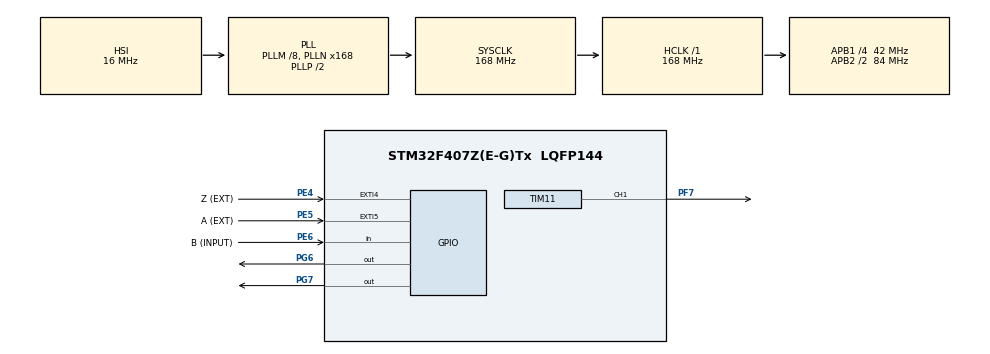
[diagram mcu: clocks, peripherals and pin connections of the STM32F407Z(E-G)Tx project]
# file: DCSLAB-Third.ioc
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Mcu.Family=STM32F4
Mcu.Name=STM32F407Z(E-G)Tx
Mcu.Package=LQFP144
NVIC.EXTI4_IRQn=true\:0\:0\:false\:false\:true\:true\:true\:true
NVIC.EXTI9_5_IRQn=true\:0\:0\:false\:false\:true\:true\:true\:true
NVIC.PriorityGroup=NVIC_PRIORITYGROUP_4
NVIC.TIM6_DAC_IRQn=true\:0\:0\:false\:false\:true\:true\:true\:true
NVIC.TIM7_IRQn=true\:0\:0\:false\:false\:true\:true\:true\:true
PE4.GPIO_Label=Z (EXT)
PE4.Signal=GPXTI4
PE5.GPIO_Label=A (EXT)
PE5.Signal=GPXTI5
PE6.GPIO_Label=B (INPUT)
PE6.Signal=GPIO_Input
PF7.Signal=S_TIM11_CH1
PG6.Signal=GPIO_Output
PG7.Signal=GPIO_Output
ProjectManager.HeapSize=0x200
ProjectManager.StackSize=0x400
ProjectManager.TargetToolchain=STM32CubeIDE
RCC.48MHZClocksFreq_Value=84000000
RCC.AHBFreq_Value=168000000
RCC.APB1CLKDivider=RCC_HCLK_DIV4
RCC.APB1Freq_Value=42000000
RCC.APB1TimFreq_Value=84000000
RCC.APB2CLKDivider=RCC_HCLK_DIV2
RCC.APB2Freq_Value=84000000
RCC.APB2TimFreq_Value=168000000
RCC.CortexFreq_Value=168000000
RCC.HCLKFreq_Value=168000000
RCC.HSE_VALUE=25000000
RCC.HSI_VALUE=16000000
RCC.LSE_VALUE=32768
RCC.PLLM=8
RCC.PLLN=168
RCC.SYSCLKFreq_VALUE=168000000
RCC.SYSCLKSource=RCC_SYSCLKSOURCE_PLLCLK
RCC.VCOOutputFreq_Value=336000000
SH.S_TIM11_CH1.0=TIM11_CH1,PWM Generation1 CH1
TIM11.Channel=TIM_CHANNEL_1
TIM11.Period=1119
TIM11.Prescaler=9
TIM6.Period=9999
TIM6.Prescaler=15
TIM7.Period=9999
TIM7.Prescaler=159
VP_TIM11_VS_ClockSourceINT.Mode=Enable_Timer
VP_TIM6_VS_ClockSourceINT.Mode=Enable_Timer
VP_TIM7_VS_ClockSourceINT.Mode=Enable_Timer
board=custom

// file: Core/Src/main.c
/* USER CODE BEGIN Header */
/**
  ******************************************************************************
  * @file           : main.c
  * @brief          : Main program body
  ******************************************************************************
  * @attention
  *
  * Copyright (c) 2024 STMicroelectronics.
  * All rights reserved.
  *
  * This software is licensed under terms that can be found in the LICENSE file
  * in the root directory of this software component.
  * If no LICENSE file comes with this software, it is provided AS-IS.
  *
  ******************************************************************************
  */
/* USER CODE END Header */
#include "main.h"

TIM_HandleTypeDef htim6;
TIM_HandleTypeDef htim7;
TIM_HandleTypeDef htim11;

/* USER CODE BEGIN PV */
uint16_t counter;
int pos_counter;
float pos;
uint16_t speed;
uint16_t speed_previous;
int dir;
uint16_t CCR_DB;
uint16_t CCR_K1;
uint16_t Speed_K1;
uint16_t CCR_K2;
uint16_t Speed_K2;
uint16_t k_value;
uint16_t Tau_value;

typedef enum{
	INIT = 0, IDLE, DB, K1, K2, Tau0, Tau
} Engine_State_t;

Engine_State_t state = INIT;

typedef enum{
	OK = 0, ERR
} result_t;

result_t init(void);
result_t idle(void);
result_t db(void);
result_t k1(void);
result_t k2(void);
result_t tau(void);

/* USER CODE END PV */

void SystemClock_Config(void);
static void MX_GPIO_Init(void);
static void MX_TIM6_Init(void);
static void MX_TIM11_Init(void);
static void MX_TIM7_Init(void);

int main(void)
{

  /* MCU Configuration--------------------------------------------------------*/

  /* Reset of all peripherals, Initializes the Flash interface and the Systick. */
  HAL_Init();

  /* Configure the system clock */
  SystemClock_Config();

  /* Initialize all configured peripherals */
  MX_GPIO_Init();
  MX_TIM6_Init();
  MX_TIM11_Init();
  MX_TIM7_Init();
  /* USER CODE BEGIN 2 */
  HAL_TIM_Base_Start_IT(&htim6);
  HAL_TIM_Base_Start_IT(&htim7);
  HAL_TIM_PWM_Start(&htim11, TIM_CHANNEL_1);

  TIM11->CCR1 = 0;
  pos = 0;
  /* USER CODE END 2 */

  /* Infinite loop */
  /* USER CODE BEGIN WHILE */
  while (1)
  {

	  switch(state){

	  	  case INIT:
	  		  state = IDLE;
	  		  break;
	  	  case IDLE:
	  		  state = DB;
	  		  break;
	  	  case DB:
	  		  if(db() == OK){
	  			  state = K1;
	  		  }
	  		  break;
	  	  case K1:
	  		  TIM11->CCR1 = CCR_DB + 100;
	  		  HAL_Delay(6000);
	  		  CCR_K1 = TIM11->CCR1;
	  		  Speed_K1 = speed;

	  		  TIM11->CCR1 = TIM11->CCR1 * 2;
	  		  state = K2;
	  		  break;

	  	  case K2:
	  		  break;
	  	  case Tau0:
	  		  TIM11->CCR1 = CCR_K1;
	  		  HAL_Delay(5000);
	  		  TIM11->CCR1 = CCR_K2;
	  		  state = Tau;
	  		  break;
	  	  case Tau:
	  		  break;
	  	  default:
	  		  state = IDLE;
	  		  break;

	  }

    /* USER CODE END WHILE */

  }
}

void SystemClock_Config(void)
{
  RCC_OscInitTypeDef RCC_OscInitStruct = {0};
  RCC_ClkInitTypeDef RCC_ClkInitStruct = {0};

  /** Configure the main internal regulator output voltage
  */
  __HAL_RCC_PWR_CLK_ENABLE();
  __HAL_PWR_VOLTAGESCALING_CONFIG(PWR_REGULATOR_VOLTAGE_SCALE1);

  /** Initializes the RCC Oscillators according to the specified parameters
  * in the RCC_OscInitTypeDef structure.
  */
  RCC_OscInitStruct.OscillatorType = RCC_OSCILLATORTYPE_HSI;
  RCC_OscInitStruct.HSIState = RCC_HSI_ON;
  RCC_OscInitStruct.HSICalibrationValue = RCC_HSICALIBRATION_DEFAULT;
  RCC_OscInitStruct.PLL.PLLState = RCC_PLL_ON;
  RCC_OscInitStruct.PLL.PLLSource = RCC_PLLSOURCE_HSI;
  RCC_OscInitStruct.PLL.PLLM = 8;
  RCC_OscInitStruct.PLL.PLLN = 168;
  RCC_OscInitStruct.PLL.PLLP = RCC_PLLP_DIV2;
  RCC_OscInitStruct.PLL.PLLQ = 4;
  if (HAL_RCC_OscConfig(&RCC_OscInitStruct) != HAL_OK)
  {
    Error_Handler();
  }

  /** Initializes the CPU, AHB and APB buses clocks
  */
  RCC_ClkInitStruct.ClockType = RCC_CLOCKTYPE_HCLK|RCC_CLOCKTYPE_SYSCLK
                              |RCC_CLOCKTYPE_PCLK1|RCC_CLOCKTYPE_PCLK2;
  RCC_ClkInitStruct.SYSCLKSource = RCC_SYSCLKSOURCE_PLLCLK;
  RCC_ClkInitStruct.AHBCLKDivider = RCC_SYSCLK_DIV1;
  RCC_ClkInitStruct.APB1CLKDivider = RCC_HCLK_DIV4;
  RCC_ClkInitStruct.APB2CLKDivider = RCC_HCLK_DIV2;

  if (HAL_RCC_ClockConfig(&RCC_ClkInitStruct, FLASH_LATENCY_5) != HAL_OK)
  {
    Error_Handler();
  }
}

static void MX_TIM6_Init(void)
{

  TIM_MasterConfigTypeDef sMasterConfig = {0};

  htim6.Instance = TIM6;
  htim6.Init.Prescaler = 41;
  htim6.Init.CounterMode = TIM_COUNTERMODE_UP;
  htim6.Init.Period = 9999;
  htim6.Init.AutoReloadPreload = TIM_AUTORELOAD_PRELOAD_DISABLE;
  if (HAL_TIM_Base_Init(&htim6) != HAL_OK)
  {
    Error_Handler();
  }
  sMasterConfig.MasterOutputTrigger = TIM_TRGO_RESET;
  sMasterConfig.MasterSlaveMode = TIM_MASTERSLAVEMODE_DISABLE;
  if (HAL_TIMEx_MasterConfigSynchronization(&htim6, &sMasterConfig) != HAL_OK)
  {
    Error_Handler();
  }

}

static void MX_TIM7_Init(void)
{

  TIM_MasterConfigTypeDef sMasterConfig = {0};

  htim7.Instance = TIM7;
  htim7.Init.Prescaler = 83;
  htim7.Init.CounterMode = TIM_COUNTERMODE_UP;
  htim7.Init.Period = 99999;
  htim7.Init.AutoReloadPreload = TIM_AUTORELOAD_PRELOAD_DISABLE;
  if (HAL_TIM_Base_Init(&htim7) != HAL_OK)
  {
    Error_Handler();
  }
  sMasterConfig.MasterOutputTrigger = TIM_TRGO_RESET;
  sMasterConfig.MasterSlaveMode = TIM_MASTERSLAVEMODE_DISABLE;
  if (HAL_TIMEx_MasterConfigSynchronization(&htim7, &sMasterConfig) != HAL_OK)
  {
    Error_Handler();
  }

}

static void MX_TIM11_Init(void)
{

  TIM_OC_InitTypeDef sConfigOC = {0};

  htim11.Instance = TIM11;
  htim11.Init.Prescaler = 9;
  htim11.Init.CounterMode = TIM_COUNTERMODE_UP;
  htim11.Init.Period = 1119;
  htim11.Init.ClockDivision = TIM_CLOCKDIVISION_DIV1;
  htim11.Init.AutoReloadPreload = TIM_AUTORELOAD_PRELOAD_DISABLE;
  if (HAL_TIM_Base_Init(&htim11) != HAL_OK)
  {
    Error_Handler();
  }
  if (HAL_TIM_PWM_Init(&htim11) != HAL_OK)
  {
    Error_Handler();
  }
  sConfigOC.OCMode = TIM_OCMODE_PWM1;
  sConfigOC.Pulse = 0;
  sConfigOC.OCPolarity = TIM_OCPOLARITY_HIGH;
  sConfigOC.OCFastMode = TIM_OCFAST_DISABLE;
  if (HAL_TIM_PWM_ConfigChannel(&htim11, &sConfigOC, TIM_CHANNEL_1) != HAL_OK)
  {
    Error_Handler();
  }
  HAL_TIM_MspPostInit(&htim11);

}

static void MX_GPIO_Init(void)
{
  GPIO_InitTypeDef GPIO_InitStruct = {0};

  /* GPIO Ports Clock Enable */
  __HAL_RCC_GPIOE_CLK_ENABLE();
  __HAL_RCC_GPIOF_CLK_ENABLE();
  __HAL_RCC_GPIOG_CLK_ENABLE();

  /*Configure GPIO pin Output Level */
  HAL_GPIO_WritePin(GPIOG, GPIO_PIN_6|GPIO_PIN_7, GPIO_PIN_RESET);

  /*Configure GPIO pins : Z_Pin A_Pin */
  GPIO_InitStruct.Pin = Z_Pin|A_Pin;
  GPIO_InitStruct.Mode = GPIO_MODE_IT_RISING;
  GPIO_InitStruct.Pull = GPIO_NOPULL;
  HAL_GPIO_Init(GPIOE, &GPIO_InitStruct);

  /*Configure GPIO pin : B_Pin */
  GPIO_InitStruct.Pin = B_Pin;
  GPIO_InitStruct.Mode = GPIO_MODE_INPUT;
  GPIO_InitStruct.Pull = GPIO_NOPULL;
  HAL_GPIO_Init(B_GPIO_Port, &GPIO_InitStruct);

  /*Configure GPIO pins : PG6 PG7 */
  GPIO_InitStruct.Pin = GPIO_PIN_6|GPIO_PIN_7;
  GPIO_InitStruct.Mode = GPIO_MODE_OUTPUT_PP;
  GPIO_InitStruct.Pull = GPIO_NOPULL;
  GPIO_InitStruct.Speed = GPIO_SPEED_FREQ_LOW;
  HAL_GPIO_Init(GPIOG, &GPIO_InitStruct);

  /* EXTI interrupt init*/
  HAL_NVIC_SetPriority(EXTI4_IRQn, 0, 0);
  HAL_NVIC_EnableIRQ(EXTI4_IRQn);

  HAL_NVIC_SetPriority(EXTI9_5_IRQn, 0, 0);
  HAL_NVIC_EnableIRQ(EXTI9_5_IRQn);

}

/* USER CODE BEGIN 4 */
void HAL_GPIO_EXTI_Callback(uint16_t GPIO_Pin)
{
	if (GPIO_Pin == A_Pin)
	{
		counter = counter + 1;
		dir = HAL_GPIO_ReadPin(B_GPIO_Port, B_Pin);
		if (dir == 1){
			pos_counter = pos_counter - (1);
			if(pos_counter == -1){
				pos_counter = 1023;
			}
			//pos = pos + (360/1024);
		}
		else if (dir == 0){
			pos_counter = pos_counter + (1);
		}
	}

	if (GPIO_Pin == Z_Pin)
	{
		pos_counter = 0;
	}
	pos = ((pos_counter * 360) / 1024);

}

void HAL_TIM_PeriodElapsedCallback(TIM_HandleTypeDef *htim)
{
	if (htim->Instance == TIM6)
	{
		speed = ((counter * 12000) / 1024);
		counter = 0;

		if(state == Tau0){
			Tau_value = 0;
		}
		if(state == Tau){
			if(speed < Speed_K1 + 0.63 * (Speed_K2 - Speed_K1)){
				Tau_value = Tau_value + 5;
			}
		}
	}

	if (htim->Instance == TIM7)
	{
		if(state == DB){
			TIM11->CCR1 = TIM11->CCR1 + 10;
		}
//		if(state == K1){
//			if((speed - speed_previous) < 20){
//				if((speed - speed_previous) > -20){
//			  		CCR_K1 = TIM->CCR1;
//			  		Speed_K1 = speed;
//
//			  		TIM->CCR1 =
//			  		state = K2;
//				}
//			}
//		}

		if(state == K2){
			if((speed - speed_previous) < 10){
				if((speed - speed_previous) > -10){
			  		CCR_K2 = TIM11->CCR1;
			  		Speed_K2 = speed;

			  		k_value = ((Speed_K2 - Speed_K1) / (CCR_K2 - CCR_K1)) * (1119 / 12);
			  		state = Tau0;
				}
			}
			speed_previous = speed;
		}

	}

}

result_t init(void){
	return OK;
}
result_t idle(void){
	CCR_DB = 0;
	TIM11->CCR1 = 0;
	return OK;
}
result_t db(void){
	if(speed > 15){
		CCR_DB = TIM11->CCR1;
		return OK;
	}
	else{
		return ERR;
	}
}
result_t k1(void){
	return OK;
}
result_t k2(void){
	return OK;
}
result_t tau(void){
	return OK;
}

/* USER CODE END 4 */

void Error_Handler(void)
{
  __disable_irq();
  while (1)
  {
  }
}
